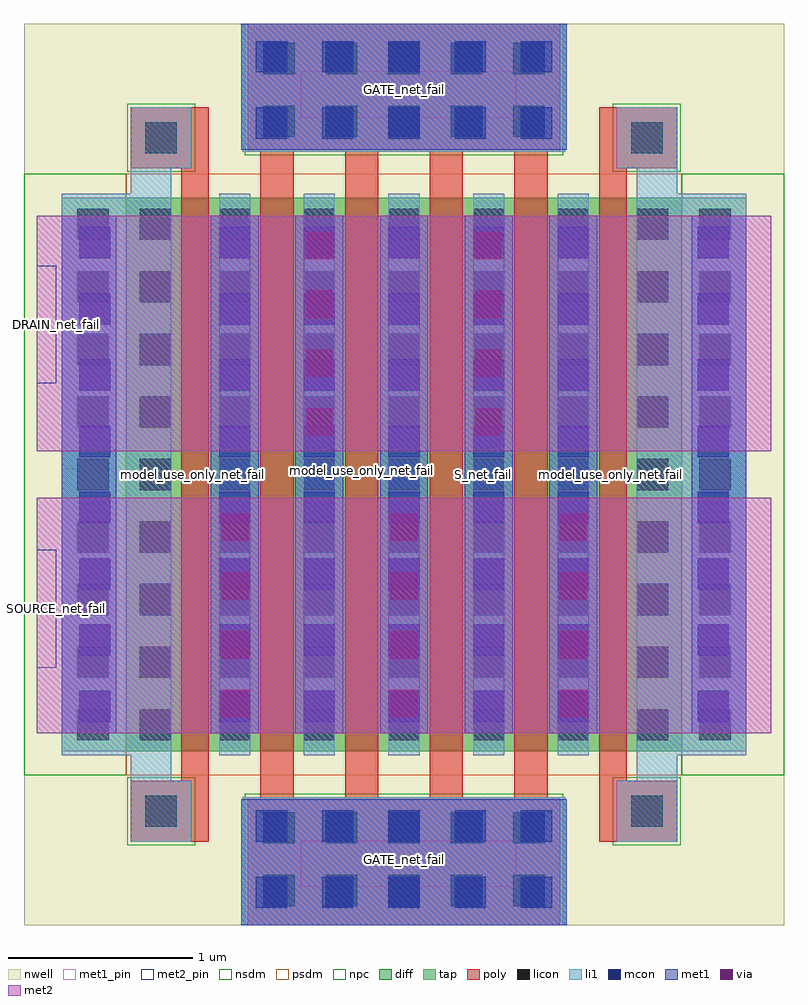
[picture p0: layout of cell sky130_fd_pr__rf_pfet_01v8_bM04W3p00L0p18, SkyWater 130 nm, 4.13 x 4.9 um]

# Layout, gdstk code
import gdstk
lib = gdstk.Library(unit=1e-6, precision=1e-09)
def R(c, l, rs):  # rectangles x0, y0, x1, y1
    for r in rs: c.add(gdstk.rectangle(r[:2], r[2:], *l))
def A(c, l, x, y, w, h, nx, ny, dx, dy):  # array of equal rectangles
    R(c, l, [(x+i*dx, y+j*dy, x+i*dx+w, y+j*dy+h) for i in range(nx) for j in range(ny)])
nwell = (64, 20)
diff = (65, 20)
tap = (65, 44)
poly = (66, 20)
licon = (66, 44)
li1 = (67, 20)
mcon = (67, 44)
met1_pin = (68, 16)
met1 = (68, 20)
via = (68, 44)
met2_pin = (69, 16)
met2 = (69, 20)
nsdm = (93, 44)
psdm = (94, 20)
npc = (95, 20)

sky130_fd_pr__rf_pfet_01 = lib.new_cell('sky130_fd_pr__rf_pfet_01v8_bM04W3p00L0p18')
R(sky130_fd_pr__rf_pfet_01, nwell, [(0,0,4.13,4.9)])
R(sky130_fd_pr__rf_pfet_01, diff, [(0.555,0.945,3.575,3.955)])
R(sky130_fd_pr__rf_pfet_01, tap, [(0.205,0.945,0.555,3.955), (3.575,0.945,3.925,3.955)])
A(sky130_fd_pr__rf_pfet_01, poly, 1.285, 0.695, 0.18, 3.51, 4, 1, 0.46, 0)
R(sky130_fd_pr__rf_pfet_01, poly, [(1.215,0,2.915,0.695), (0.58,0.455,0.91,0.785), (0.855,0.455,1.005,4.445), (3.125,0.455,3.275,4.445), (3.22,0.455,3.55,0.785), (0.58,4.115,0.91,4.445), (3.22,4.115,3.55,4.445), (1.215,4.205,2.915,4.9)])
A(sky130_fd_pr__rf_pfet_01, licon, 1.3, 0.105, 0.17, 0.17, 5, 2, 0.34, 0.34)
A(sky130_fd_pr__rf_pfet_01, licon, 0.29, 1.005, 0.17, 0.17, 1, 9, 0, 0.34)
A(sky130_fd_pr__rf_pfet_01, licon, 0.63, 1.005, 0.17, 0.17, 1, 9, 0, 0.34)
A(sky130_fd_pr__rf_pfet_01, licon, 1.06, 1.005, 0.17, 0.17, 5, 9, 0.46, 0.34)
A(sky130_fd_pr__rf_pfet_01, licon, 3.33, 1.005, 0.17, 0.17, 1, 9, 0, 0.34)
A(sky130_fd_pr__rf_pfet_01, licon, 3.67, 1.005, 0.17, 0.17, 1, 9, 0, 0.34)
A(sky130_fd_pr__rf_pfet_01, licon, 1.3, 4.285, 0.17, 0.17, 5, 2, 0.34, 0.34)
R(sky130_fd_pr__rf_pfet_01, licon, [(0.66,0.535,0.83,0.705), (3.3,0.535,3.47,0.705), (0.66,4.195,0.83,4.365), (3.3,4.195,3.47,4.365)])
A(sky130_fd_pr__rf_pfet_01, li1, 1.06, 0.925, 0.17, 3.05, 5, 1, 0.46, 0)
A(sky130_fd_pr__rf_pfet_01, li1, 1.06, 1.105, 0.17, 2.69, 5, 1, 0.46, 0)
R(sky130_fd_pr__rf_pfet_01, li1, [(1.19,0,2.94,0.695), (0.58,0.455,0.91,0.785), (3.22,0.455,3.55,0.785), (0.58,0.785,0.8,0.925), (3.33,0.785,3.55,0.925), (0.205,0.925,0.8,3.975), (3.33,0.925,3.925,3.975), (0.58,3.975,0.8,4.115), (3.33,3.975,3.55,4.115), (0.58,4.115,0.91,4.445), (3.22,4.115,3.55,4.445), (1.19,4.205,2.94,4.9)])
A(sky130_fd_pr__rf_pfet_01, mcon, 1.26, 0.095, 0.17, 0.17, 5, 2, 0.36, 0.36)
A(sky130_fd_pr__rf_pfet_01, mcon, 0.3, 1.105, 0.17, 0.17, 1, 8, 0, 0.36)
A(sky130_fd_pr__rf_pfet_01, mcon, 1.06, 1.105, 0.17, 0.17, 5, 8, 0.46, 0.36)
A(sky130_fd_pr__rf_pfet_01, mcon, 3.66, 1.105, 0.17, 0.17, 1, 8, 0, 0.36)
A(sky130_fd_pr__rf_pfet_01, mcon, 1.26, 4.275, 0.17, 0.17, 5, 2, 0.36, 0.36)
R(sky130_fd_pr__rf_pfet_01, met1_pin, [(1.505,0.21,2.675,0.46), (0.205,2.33,0.5,2.48), (3.63,2.345,3.925,2.495), (1.505,4.39,2.675,4.64)])
A(sky130_fd_pr__rf_pfet_01, met1, 1.015, 1.045, 0.26, 2.81, 5, 1, 0.46, 0)
A(sky130_fd_pr__rf_pfet_01, met1, 1.015, 1.045, 0.26, 1.28, 3, 1, 0.92, 0)
R(sky130_fd_pr__rf_pfet_01, met1, [(1.18,0,2.95,0.685), (0.205,1.045,0.5,3.855), (3.63,1.045,3.925,3.855), (1.475,2.575,1.735,3.855), (2.395,2.575,2.655,3.855), (1.18,4.215,2.95,4.9)])
A(sky130_fd_pr__rf_pfet_01, via, 1.07, 1.13, 0.15, 0.15, 3, 4, 0.92, 0.32)
A(sky130_fd_pr__rf_pfet_01, via, 1.53, 2.66, 0.15, 0.15, 1, 4, 0, 0.32)
A(sky130_fd_pr__rf_pfet_01, via, 2.45, 2.66, 0.15, 0.15, 1, 4, 0, 0.32)
R(sky130_fd_pr__rf_pfet_01, met2_pin, [(0.07,1.4,0.175,2.04), (0.07,2.945,0.175,3.585)])
A(sky130_fd_pr__rf_pfet_01, met2, 1.015, 1.045, 0.26, 1.28, 3, 1, 0.92, 0)
R(sky130_fd_pr__rf_pfet_01, met2, [(0.07,1.045,4.06,2.325), (0.07,2.575,4.06,3.855), (1.475,2.575,1.735,3.855), (2.395,2.575,2.655,3.855)])
R(sky130_fd_pr__rf_pfet_01, nsdm, [(0,0.815,0.555,4.085), (3.575,0.815,4.13,4.085)])
R(sky130_fd_pr__rf_pfet_01, psdm, [(0.555,0.815,3.575,4.085)])
R(sky130_fd_pr__rf_pfet_01, npc, [(1.2,0,2.93,0.715), (0.56,0.435,0.93,0.805), (3.2,0.435,3.57,0.805), (0.56,4.095,0.93,4.465), (3.2,4.095,3.57,4.465), (1.2,4.185,2.93,4.9)])
sky130_fd_pr__rf_pfet_01.add(gdstk.Label('GATE_net_fail', (2.065,0.36), layer=68, texttype=5))
sky130_fd_pr__rf_pfet_01.add(gdstk.Label('GATE_net_fail', (2.065,4.54), layer=68, texttype=5))
sky130_fd_pr__rf_pfet_01.add(gdstk.Label('model_use_only_net_fail', (3.185,2.45), layer=66, texttype=83))
sky130_fd_pr__rf_pfet_01.add(gdstk.Label('model_use_only_net_fail', (0.915,2.45), layer=66, texttype=83))
sky130_fd_pr__rf_pfet_01.add(gdstk.Label('model_use_only_net_fail', (1.835,2.47), layer=66, texttype=83))
sky130_fd_pr__rf_pfet_01.add(gdstk.Label('model_use_only_net_fail', (2.26,2.49), layer=66, texttype=83))
sky130_fd_pr__rf_pfet_01.add(gdstk.Label('model_use_only_net_fail', (2.75,2.505), layer=66, texttype=83))
sky130_fd_pr__rf_pfet_01.add(gdstk.Label('model_use_only_net_fail', (1.36,2.47), layer=66, texttype=83))
sky130_fd_pr__rf_pfet_01.add(gdstk.Label('BULK_net_fail', (0.315,2.41), layer=68, texttype=16))
sky130_fd_pr__rf_pfet_01.add(gdstk.Label('BULK_net_fail', (3.74,2.425), layer=68, texttype=16))
sky130_fd_pr__rf_pfet_01.add(gdstk.Label('dummy_poly_net_fail', (3.185,2.44), layer=83, texttype=44))
sky130_fd_pr__rf_pfet_01.add(gdstk.Label('dummy_poly_net_fail', (0.92,2.435), layer=83, texttype=44))
sky130_fd_pr__rf_pfet_01.add(gdstk.Label('S_net_fail', (1.205,2.45), layer=83, texttype=44))
sky130_fd_pr__rf_pfet_01.add(gdstk.Label('S_net_fail', (1.635,2.45), layer=83, texttype=44))
sky130_fd_pr__rf_pfet_01.add(gdstk.Label('S_net_fail', (2.065,2.45), layer=83, texttype=44))
sky130_fd_pr__rf_pfet_01.add(gdstk.Label('S_net_fail', (2.495,2.45), layer=83, texttype=44))
sky130_fd_pr__rf_pfet_01.add(gdstk.Label('S_net_fail', (1.205,2.45), layer=83, texttype=44))
sky130_fd_pr__rf_pfet_01.add(gdstk.Label('D_net_fail', (1.635,2.45), layer=83, texttype=44))
sky130_fd_pr__rf_pfet_01.add(gdstk.Label('S_net_fail', (2.065,2.45), layer=83, texttype=44))
sky130_fd_pr__rf_pfet_01.add(gdstk.Label('D_net_fail', (2.495,2.45), layer=83, texttype=44))
sky130_fd_pr__rf_pfet_01.add(gdstk.Label('S_net_fail', (2.925,2.45), layer=83, texttype=44))
sky130_fd_pr__rf_pfet_01.add(gdstk.Label('SOURCE_net_fail', (0.175,1.72), layer=69, texttype=5))
sky130_fd_pr__rf_pfet_01.add(gdstk.Label('DRAIN_net_fail', (0.175,3.265), layer=69, texttype=5))

lib.write_gds('sky130_fd_pr__rf_pfet_01v8_bM04W3p00L0p18.gds')
